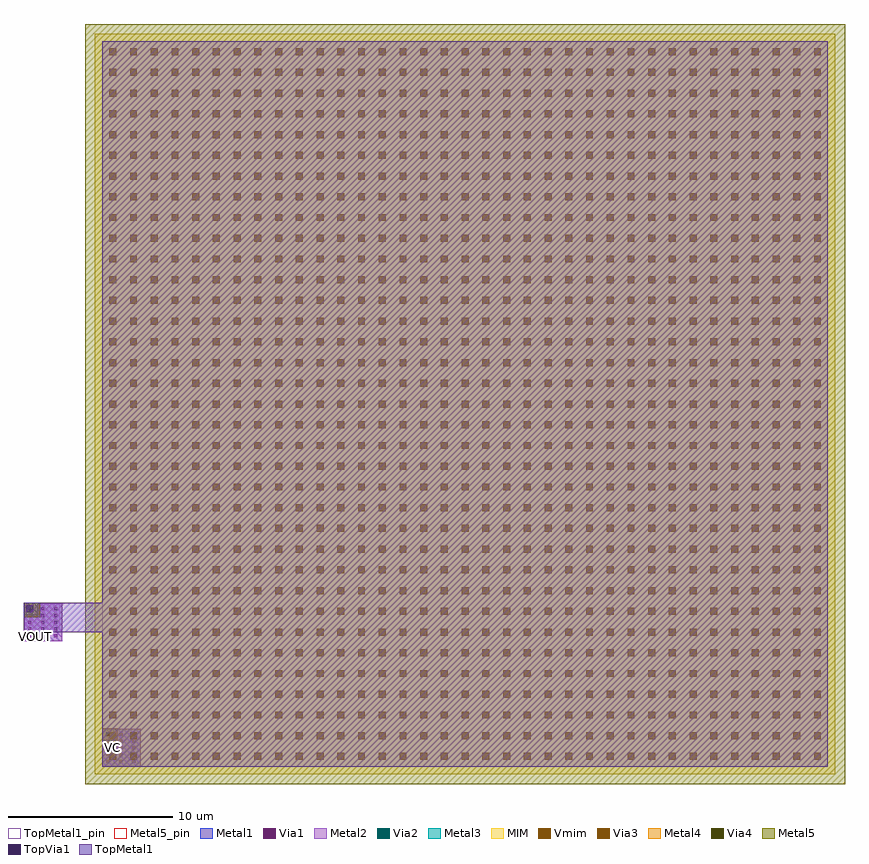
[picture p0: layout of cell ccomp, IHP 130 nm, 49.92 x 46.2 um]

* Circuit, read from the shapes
.subckt ccomp VC VOUT
XC1 VOUT VC cap_cmim w=45u l=45u
.ends

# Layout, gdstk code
from math import pi, radians
import gdstk
lib = gdstk.Library(unit=1e-6, precision=1e-09)
def R(c, l, rs):  # rectangles x0, y0, x1, y1
    for r in rs: c.add(gdstk.rectangle(r[:2], r[2:], *l))
def A(c, l, x, y, w, h, nx, ny, dx, dy):  # array of equal rectangles
    R(c, l, [(x+i*dx, y+j*dy, x+i*dx+w, y+j*dy+h) for i in range(nx) for j in range(ny)])
Metal1 = (8, 0)
Metal2 = (10, 0)
Via1 = (19, 0)
Via2 = (29, 0)
Metal3 = (30, 0)
MIM = (36, 0)
Via3 = (49, 0)
Metal4 = (50, 0)
Via4 = (66, 0)
Metal5 = (67, 0)
Metal5_pin = (67, 2)
TopVia1 = (125, 0)
TopMetal1 = (126, 0)
TopMetal1_pin = (126, 2)
Vmim = (129, 0)

cmim_1 = lib.new_cell('cmim$1')
R(cmim_1, MIM, [(0,0,45,45)])
R(cmim_1, Metal5, [(-0.6,-0.6,45.6,45.6)])
R(cmim_1, Metal5_pin, [(-0.6,-0.6,45.6,45.6)])
R(cmim_1, TopMetal1, [(0.445,0.445,44.545,44.545)])
R(cmim_1, TopMetal1_pin, [(0.445,0.445,44.545,44.545)])
A(cmim_1, Vmim, 0.865, 0.865, 0.42, 0.42, 35, 35, 1.26, 1.26)

ccomp = lib.new_cell('ccomp')
R(ccomp, Metal1, [(-43.772,-0.994,-41.456,1.309), (-48.522,6.636,-46.206,8.939)])
R(ccomp, Metal2, [(-43.772,-0.994,-41.456,1.309), (-48.522,6.636,-46.206,8.939)])
A(ccomp, Via1, -42.744, -0.752, 0.19, 0.19, 1, 5, 0, 0.41)
A(ccomp, Via1, -41.952, -0.749, 0.19, 0.19, 1, 5, 0, 0.41)
A(ccomp, Via1, -43.539, -0.741, 0.19, 0.19, 1, 5, 0, 0.41)
A(ccomp, Via1, -47.494, 6.878, 0.19, 0.19, 1, 5, 0, 0.41)
A(ccomp, Via1, -46.702, 6.881, 0.19, 0.19, 1, 5, 0, 0.41)
A(ccomp, Via1, -48.289, 6.889, 0.19, 0.19, 1, 5, 0, 0.41)
R(ccomp, Via2, [(-43.539,0.898,-43.349,1.088), (-48.289,8.528,-48.099,8.718)])
R(ccomp, Metal3, [(-43.771,0.581,-42.937,1.308), (-48.521,8.211,-47.687,8.938)])
R(ccomp, Via3, [(-43.539,0.898,-43.349,1.088), (-48.289,8.528,-48.099,8.718)])
R(ccomp, Metal4, [(-43.784,0.483,-42.839,1.346), (-48.534,8.113,-47.589,8.976)])
R(ccomp, Via4, [(-43.539,0.899,-43.349,1.089), (-48.289,8.529,-48.099,8.719)])
R(ccomp, Metal5, [(-48.539,8.089,-47.567,8.976)])
R(ccomp, Metal5_pin, [(-48.289,8.529,-48.099,8.719)])
R(ccomp, TopVia1, [(-48.404,8.414,-47.984,8.834)])
R(ccomp, TopMetal1, [(-48.546,7.173,-47.602,8.985), (-47.602,7.173,-43.772,8.985)])
ccomp.add(gdstk.Reference(cmim_1, (0.773,-1.439), rotation=pi/2))
ccomp.add(gdstk.Label('VOUT', (-47.812,6.918), layer=8, texttype=1))
ccomp.add(gdstk.Label('VC', (-43.16,0.155), layer=8, texttype=1))

lib.write_gds('ccomp.gds')
